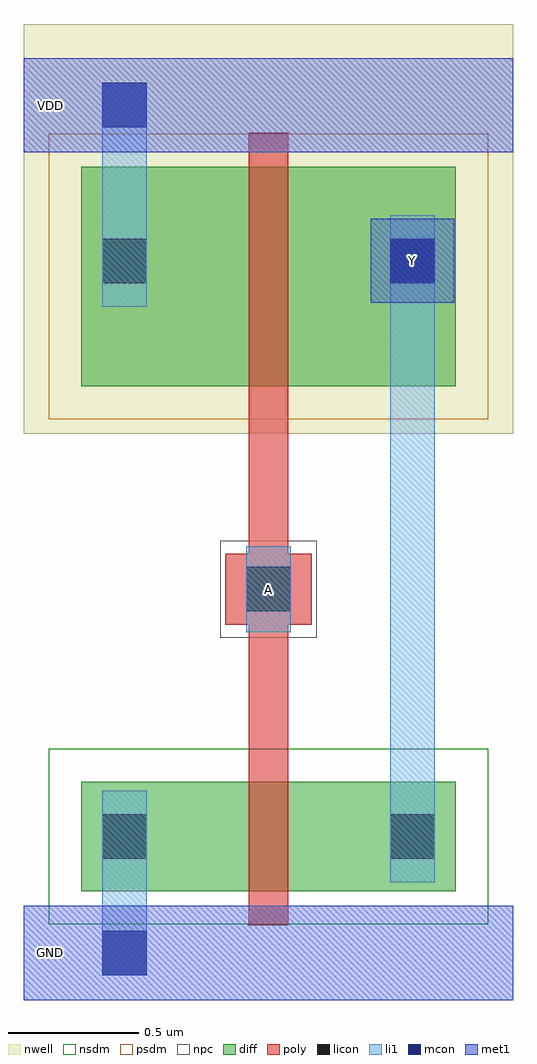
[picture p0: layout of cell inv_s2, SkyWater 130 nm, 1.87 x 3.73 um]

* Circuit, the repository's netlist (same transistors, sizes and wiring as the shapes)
* NGSPICE file created from inv_s2.ext - technology: sky130A

.subckt inv_s2 A Y VDD GND
X0 Y A GND VSUBS sky130_fd_pr__nfet_01v8 ad=0.2688 pd=2.12 as=0.2688 ps=2.12 w=0.42 l=0.15
X1 Y A VDD w_0_397# sky130_fd_pr__pfet_01v8 ad=0.5376 pd=2.96 as=0.5376 ps=2.96 w=0.84 l=0.15
.ends

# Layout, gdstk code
import gdstk
lib = gdstk.Library(unit=1e-6, precision=1e-09)
def R(c, l, rs):  # rectangles x0, y0, x1, y1
    for r in rs: c.add(gdstk.rectangle(r[:2], r[2:], *l))
nwell = (64, 20)
diff = (65, 20)
poly = (66, 20)
licon = (66, 44)
li1 = (67, 20)
mcon = (67, 44)
met1 = (68, 20)
nsdm = (93, 44)
psdm = (94, 20)
npc = (95, 20)

inv_s2 = lib.new_cell('inv_s2')
R(inv_s2, nwell, [(0,1.985,1.87,3.55)])
R(inv_s2, diff, [(0.22,0.235,1.65,0.655), (0.22,2.165,1.65,3.005)])
R(inv_s2, poly, [(0.86,0.105,1.01,1.255), (0.77,1.255,1.1,1.525), (0.86,1.525,1.01,3.135)])
R(inv_s2, licon, [(0.3,0.36,0.47,0.53), (1.4,0.36,1.57,0.53), (0.85,1.305,1.02,1.475), (0.3,2.56,0.47,2.73), (1.4,2.56,1.57,2.73)])
R(inv_s2, li1, [(0.3,-0.085,0.47,0.62), (1.4,0.27,1.57,2.82), (0.85,1.225,1.02,1.555), (0.3,2.47,0.47,3.325)])
R(inv_s2, mcon, [(0.3,-0.085,0.47,0.085), (1.4,2.56,1.57,2.73), (0.3,3.155,0.47,3.325)])
R(inv_s2, met1, [(0,-0.18,1.87,0.18), (1.325,2.485,1.645,2.805), (0,3.06,1.87,3.42)])
R(inv_s2, nsdm, [(0.095,0.11,1.775,0.78)])
R(inv_s2, psdm, [(0.095,2.04,1.775,3.13)])
R(inv_s2, npc, [(0.75,1.205,1.12,1.575)])
inv_s2.add(gdstk.Label('A', (0.935,1.39), layer=67, texttype=5))
inv_s2.add(gdstk.Label('Y', (1.485,2.645), layer=68, texttype=5))
inv_s2.add(gdstk.Label('VDD', (0.1,3.24), layer=68, texttype=5))
inv_s2.add(gdstk.Label('GND', (0.1,0), layer=68, texttype=5))

lib.write_gds('inv_s2.gds')
